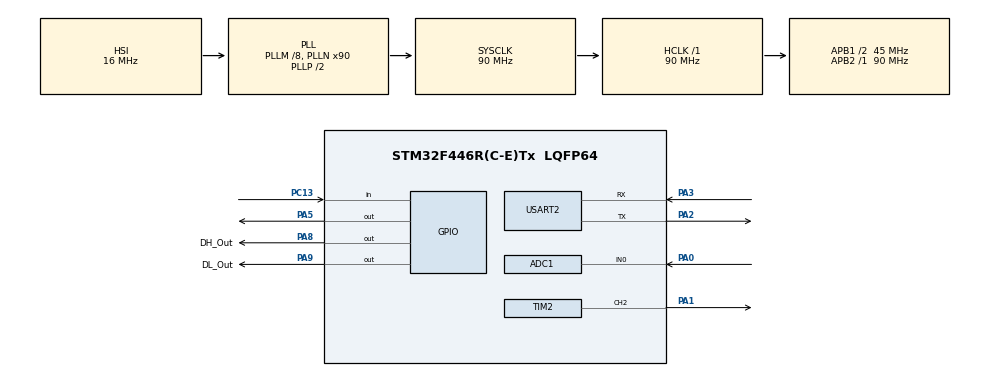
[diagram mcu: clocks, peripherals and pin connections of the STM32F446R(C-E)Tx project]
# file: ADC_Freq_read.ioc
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ADC1.Channel-0\#ChannelRegularConversion=ADC_CHANNEL_0
ADC1.NbrOfConversionFlag=1
ADC1.Rank-0\#ChannelRegularConversion=1
ADC1.Resolution=ADC_RESOLUTION_12B
ADC1.SamplingTime-0\#ChannelRegularConversion=ADC_SAMPLETIME_28CYCLES
ADC1.master=1
Mcu.Family=STM32F4
Mcu.Name=STM32F446R(C-E)Tx
Mcu.Package=LQFP64
NVIC.ADC_IRQn=true\:0\:0\:false\:false\:true\:true\:true
NVIC.PriorityGroup=NVIC_PRIORITYGROUP_0
NVIC.TIM2_IRQn=true\:0\:0\:false\:false\:true\:true\:true
PA0-WKUP.Signal=ADCx_IN0
PA1.Signal=S_TIM2_CH2
PA2.Mode=Asynchronous
PA2.Signal=USART2_TX
PA3.Mode=Asynchronous
PA3.Signal=USART2_RX
PA5.Signal=GPIO_Output
PA8.GPIO_Label=DH_Out
PA8.Signal=GPIO_Output
PA9.GPIO_Label=DL_Out
PA9.Signal=GPIO_Output
PC13.Signal=GPIO_Input
PC14-OSC32_IN.Mode=LSE-External-Oscillator
PC14-OSC32_IN.Signal=RCC_OSC32_IN
PC15-OSC32_OUT.Mode=LSE-External-Oscillator
PC15-OSC32_OUT.Signal=RCC_OSC32_OUT
PH0-OSC_IN.Mode=HSE-External-Oscillator
PH0-OSC_IN.Signal=RCC_OSC_IN
PH1-OSC_OUT.Mode=HSE-External-Oscillator
PH1-OSC_OUT.Signal=RCC_OSC_OUT
ProjectManager.HeapSize=0x200
ProjectManager.StackSize=0x400
ProjectManager.TargetToolchain=STM32CubeIDE
RCC.48MHZClocksFreq_Value=84000000
RCC.AHBFreq_Value=90000000
RCC.APB1CLKDivider=RCC_HCLK_DIV2
RCC.APB1Freq_Value=45000000
RCC.APB1TimFreq_Value=90000000
RCC.APB2Freq_Value=90000000
RCC.APB2TimFreq_Value=90000000
RCC.CortexFreq_Value=90000000
RCC.FLatency-AdvancedSettings=FLASH_LATENCY_2
RCC.HCLKFreq_Value=90000000
RCC.HSE_VALUE=8000000
RCC.HSI_VALUE=16000000
RCC.PLLM=8
RCC.PLLN=90
RCC.SYSCLKFreq_VALUE=90000000
RCC.SYSCLKSource=RCC_SYSCLKSOURCE_PLLCLK
RCC.USBFreq_Value=90000000
RCC.VCOOutputFreq_Value=180000000
SH.ADCx_IN0.0=ADC1_IN0,IN0
SH.S_TIM2_CH2.0=TIM2_CH2,Output Compare2 CH2
TIM2.AutoReloadPreload=TIM_AUTORELOAD_PRELOAD_ENABLE
TIM2.Channel-Output\ Compare2\ CH2=TIM_CHANNEL_2
TIM2.Prescaler=90-1
USART2.VirtualMode=VM_ASYNC
board=NUCLEO-F446RE

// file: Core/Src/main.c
/* USER CODE BEGIN Header */
/**
  ******************************************************************************
  * @file           : main.c
  * @brief          : Main program body
  ******************************************************************************
  * @attention
  *
  * <h2><center>&copy; Copyright (c) 2020 STMicroelectronics.
  * All rights reserved.</center></h2>
  *
  * This software component is licensed by ST under BSD 3-Clause license,
  * the "License"; You may not use this file except in compliance with the
  * License. You may obtain a copy of the License at:
  *                        opensource.org/licenses/BSD-3-Clause
  *
  ******************************************************************************
  */
/* USER CODE END Header */
#include "main.h"

/* USER CODE BEGIN Includes */
#include "math.h"
/* USER CODE END Includes */

ADC_HandleTypeDef hadc1;

TIM_HandleTypeDef htim2;

UART_HandleTypeDef huart2;

void SystemClock_Config(void);
static void MX_GPIO_Init(void);
static void MX_ADC1_Init(void);
static void MX_USART2_UART_Init(void);
static void MX_TIM2_Init(void);
/* USER CODE BEGIN PFP */
char uartData[3000];
/* USER CODE END PFP */

int main(void)
{

  /* MCU Configuration--------------------------------------------------------*/

  /* Reset of all peripherals, Initializes the Flash interface and the Systick. */
  HAL_Init();

  /* Configure the system clock */
  SystemClock_Config();

  /* Initialize all configured peripherals */
  MX_GPIO_Init();
  MX_ADC1_Init();
  MX_USART2_UART_Init();
  MX_TIM2_Init();
  /* USER CODE BEGIN 2 */
  HAL_TIM_OC_Start_IT(&htim2, TIM_CHANNEL_2);
  __HAL_TIM_SET_COMPARE(&htim2, TIM_CHANNEL_2,10);
	 sprintf(uartData,"Starting...\n");
	  HAL_UART_Transmit(&huart2, uartData, strlen(uartData), 10);
  /* USER CODE END 2 */

  /* Infinite loop */
  while (1)
  {

    /* USER CODE BEGIN 3 */

//	HAL_Delay(50);
  }
  /* USER CODE END 3 */
}

void SystemClock_Config(void)
{
  RCC_OscInitTypeDef RCC_OscInitStruct = {0};
  RCC_ClkInitTypeDef RCC_ClkInitStruct = {0};

  /** Configure the main internal regulator output voltage
  */
  __HAL_RCC_PWR_CLK_ENABLE();
  __HAL_PWR_VOLTAGESCALING_CONFIG(PWR_REGULATOR_VOLTAGE_SCALE3);
  /** Initializes the RCC Oscillators according to the specified parameters
  * in the RCC_OscInitTypeDef structure.
  */
  RCC_OscInitStruct.OscillatorType = RCC_OSCILLATORTYPE_HSI;
  RCC_OscInitStruct.HSIState = RCC_HSI_ON;
  RCC_OscInitStruct.HSICalibrationValue = RCC_HSICALIBRATION_DEFAULT;
  RCC_OscInitStruct.PLL.PLLState = RCC_PLL_ON;
  RCC_OscInitStruct.PLL.PLLSource = RCC_PLLSOURCE_HSI;
  RCC_OscInitStruct.PLL.PLLM = 8;
  RCC_OscInitStruct.PLL.PLLN = 90;
  RCC_OscInitStruct.PLL.PLLP = RCC_PLLP_DIV2;
  RCC_OscInitStruct.PLL.PLLQ = 2;
  RCC_OscInitStruct.PLL.PLLR = 2;
  if (HAL_RCC_OscConfig(&RCC_OscInitStruct) != HAL_OK)
  {
    Error_Handler();
  }
  /** Initializes the CPU, AHB and APB buses clocks
  */
  RCC_ClkInitStruct.ClockType = RCC_CLOCKTYPE_HCLK|RCC_CLOCKTYPE_SYSCLK
                              |RCC_CLOCKTYPE_PCLK1|RCC_CLOCKTYPE_PCLK2;
  RCC_ClkInitStruct.SYSCLKSource = RCC_SYSCLKSOURCE_PLLCLK;
  RCC_ClkInitStruct.AHBCLKDivider = RCC_SYSCLK_DIV1;
  RCC_ClkInitStruct.APB1CLKDivider = RCC_HCLK_DIV2;
  RCC_ClkInitStruct.APB2CLKDivider = RCC_HCLK_DIV1;

  if (HAL_RCC_ClockConfig(&RCC_ClkInitStruct, FLASH_LATENCY_2) != HAL_OK)
  {
    Error_Handler();
  }
}

static void MX_ADC1_Init(void)
{

  ADC_ChannelConfTypeDef sConfig = {0};

  /** Configure the global features of the ADC (Clock, Resolution, Data Alignment and number of conversion)
  */
  hadc1.Instance = ADC1;
  hadc1.Init.ClockPrescaler = ADC_CLOCK_SYNC_PCLK_DIV4;
  hadc1.Init.Resolution = ADC_RESOLUTION_12B;
  hadc1.Init.ScanConvMode = DISABLE;
  hadc1.Init.ContinuousConvMode = DISABLE;
  hadc1.Init.DiscontinuousConvMode = DISABLE;
  hadc1.Init.ExternalTrigConvEdge = ADC_EXTERNALTRIGCONVEDGE_NONE;
  hadc1.Init.ExternalTrigConv = ADC_SOFTWARE_START;
  hadc1.Init.DataAlign = ADC_DATAALIGN_RIGHT;
  hadc1.Init.NbrOfConversion = 1;
  hadc1.Init.DMAContinuousRequests = DISABLE;
  hadc1.Init.EOCSelection = ADC_EOC_SINGLE_CONV;
  if (HAL_ADC_Init(&hadc1) != HAL_OK)
  {
    Error_Handler();
  }
  /** Configure for the selected ADC regular channel its corresponding rank in the sequencer and its sample time.
  */
  sConfig.Channel = ADC_CHANNEL_0;
  sConfig.Rank = 1;
  sConfig.SamplingTime = ADC_SAMPLETIME_28CYCLES;
  if (HAL_ADC_ConfigChannel(&hadc1, &sConfig) != HAL_OK)
  {
    Error_Handler();
  }

}

static void MX_TIM2_Init(void)
{

  TIM_MasterConfigTypeDef sMasterConfig = {0};
  TIM_OC_InitTypeDef sConfigOC = {0};

  htim2.Instance = TIM2;
  htim2.Init.Prescaler = 90-1;
  htim2.Init.CounterMode = TIM_COUNTERMODE_UP;
  htim2.Init.Period = 4294967295;
  htim2.Init.ClockDivision = TIM_CLOCKDIVISION_DIV1;
  htim2.Init.AutoReloadPreload = TIM_AUTORELOAD_PRELOAD_ENABLE;
  if (HAL_TIM_OC_Init(&htim2) != HAL_OK)
  {
    Error_Handler();
  }
  sMasterConfig.MasterOutputTrigger = TIM_TRGO_RESET;
  sMasterConfig.MasterSlaveMode = TIM_MASTERSLAVEMODE_DISABLE;
  if (HAL_TIMEx_MasterConfigSynchronization(&htim2, &sMasterConfig) != HAL_OK)
  {
    Error_Handler();
  }
  sConfigOC.OCMode = TIM_OCMODE_TIMING;
  sConfigOC.Pulse = 0;
  sConfigOC.OCPolarity = TIM_OCPOLARITY_HIGH;
  sConfigOC.OCFastMode = TIM_OCFAST_DISABLE;
  if (HAL_TIM_OC_ConfigChannel(&htim2, &sConfigOC, TIM_CHANNEL_2) != HAL_OK)
  {
    Error_Handler();
  }
  HAL_TIM_MspPostInit(&htim2);

}

static void MX_USART2_UART_Init(void)
{

  huart2.Instance = USART2;
  huart2.Init.BaudRate = 115200;
  huart2.Init.WordLength = UART_WORDLENGTH_8B;
  huart2.Init.StopBits = UART_STOPBITS_1;
  huart2.Init.Parity = UART_PARITY_NONE;
  huart2.Init.Mode = UART_MODE_TX_RX;
  huart2.Init.HwFlowCtl = UART_HWCONTROL_NONE;
  huart2.Init.OverSampling = UART_OVERSAMPLING_16;
  if (HAL_UART_Init(&huart2) != HAL_OK)
  {
    Error_Handler();
  }

}

static void MX_GPIO_Init(void)
{
  GPIO_InitTypeDef GPIO_InitStruct = {0};

  /* GPIO Ports Clock Enable */
  __HAL_RCC_GPIOC_CLK_ENABLE();
  __HAL_RCC_GPIOH_CLK_ENABLE();
  __HAL_RCC_GPIOA_CLK_ENABLE();

  /*Configure GPIO pin Output Level */
  HAL_GPIO_WritePin(GPIOA, GPIO_PIN_5|DH_Out_Pin|DL_Out_Pin, GPIO_PIN_RESET);

  /*Configure GPIO pin : PC13 */
  GPIO_InitStruct.Pin = GPIO_PIN_13;
  GPIO_InitStruct.Mode = GPIO_MODE_INPUT;
  GPIO_InitStruct.Pull = GPIO_NOPULL;
  HAL_GPIO_Init(GPIOC, &GPIO_InitStruct);

  /*Configure GPIO pins : PA5 DH_Out_Pin DL_Out_Pin */
  GPIO_InitStruct.Pin = GPIO_PIN_5|DH_Out_Pin|DL_Out_Pin;
  GPIO_InitStruct.Mode = GPIO_MODE_OUTPUT_PP;
  GPIO_InitStruct.Pull = GPIO_NOPULL;
  GPIO_InitStruct.Speed = GPIO_SPEED_FREQ_LOW;
  HAL_GPIO_Init(GPIOA, &GPIO_InitStruct);

}

/* USER CODE BEGIN 4 */
#define PI 				3.14159265
const int SAMP_COUNT = 90;
const int freq_deviation = 400;

double phase_curr,phase_prev;
double freq_rad;
double x1,x2;

int curr_time,prev_time,diff_time;
int freq;
float buffer[1024];
int count = 0;
void TIM_OC_Callback(){

	//Log Values
	prev_time = curr_time;
	phase_prev = phase_curr;

	//Get ADC Val
	HAL_ADC_Start(&hadc1);
	HAL_ADC_PollForConversion(&hadc1,5);
	int adcval = HAL_ADC_GetValue(&hadc1);

	//Capture time
	curr_time = htim2.Instance->CNT;
	diff_time = curr_time-prev_time;

	//Calculate freq
	phase_curr = asin(((double)adcval-2048.0)/2048.0);
	freq_rad = (phase_curr-phase_prev)*1000000.0/diff_time;
	freq = freq_rad/(2*PI*1.0);

	HAL_GPIO_WritePin(GPIOA,DL_Out_Pin,0);
	HAL_GPIO_WritePin(GPIOA,DH_Out_Pin,0);

	//+ Low frequency
	if(1200-freq_deviation <freq && freq < 1200+freq_deviation ){
		HAL_GPIO_WritePin(GPIOA,GPIO_PIN_5,1);
		HAL_GPIO_WritePin(GPIOA,DL_Out_Pin,1);

	}
	//- Low frequency
	else if(-1200-freq_deviation <freq && freq < -1200+freq_deviation ){
		HAL_GPIO_WritePin(GPIOA,GPIO_PIN_5,1);
		HAL_GPIO_WritePin(GPIOA,DL_Out_Pin,1);

	}
	//+ High frequency
	else if(2200-freq_deviation <freq && freq < 2200+freq_deviation ){
		HAL_GPIO_WritePin(GPIOA,GPIO_PIN_5,1);
		HAL_GPIO_WritePin(GPIOA,DH_Out_Pin,1);

	}
	//- High frequency
	else if(-2200-freq_deviation <freq && freq < -2200+freq_deviation ){
		HAL_GPIO_WritePin(GPIOA,GPIO_PIN_5,1);
		HAL_GPIO_WritePin(GPIOA,DH_Out_Pin,1);

	}
	else {
		HAL_GPIO_WritePin(GPIOA,GPIO_PIN_5,0);
		HAL_GPIO_WritePin(GPIOA,DL_Out_Pin,0);
		HAL_GPIO_WritePin(GPIOA,DH_Out_Pin,0);

	}

	uint32_t next_sampl = curr_time + SAMP_COUNT;
	__HAL_TIM_SET_COMPARE(&htim2, TIM_CHANNEL_2,next_sampl);
}
void HAL_TIM_OC_DelayElapsedCallback(TIM_HandleTypeDef *htim)
{
	if (htim->Instance == TIM2 && htim->Channel == HAL_TIM_ACTIVE_CHANNEL_2)
	{
		TIM_OC_Callback();
	}
	return;
}
/* USER CODE END 4 */

void Error_Handler(void)
{
}

/************************ (C) COPYRIGHT STMicroelectronics *****END OF FILE****/
